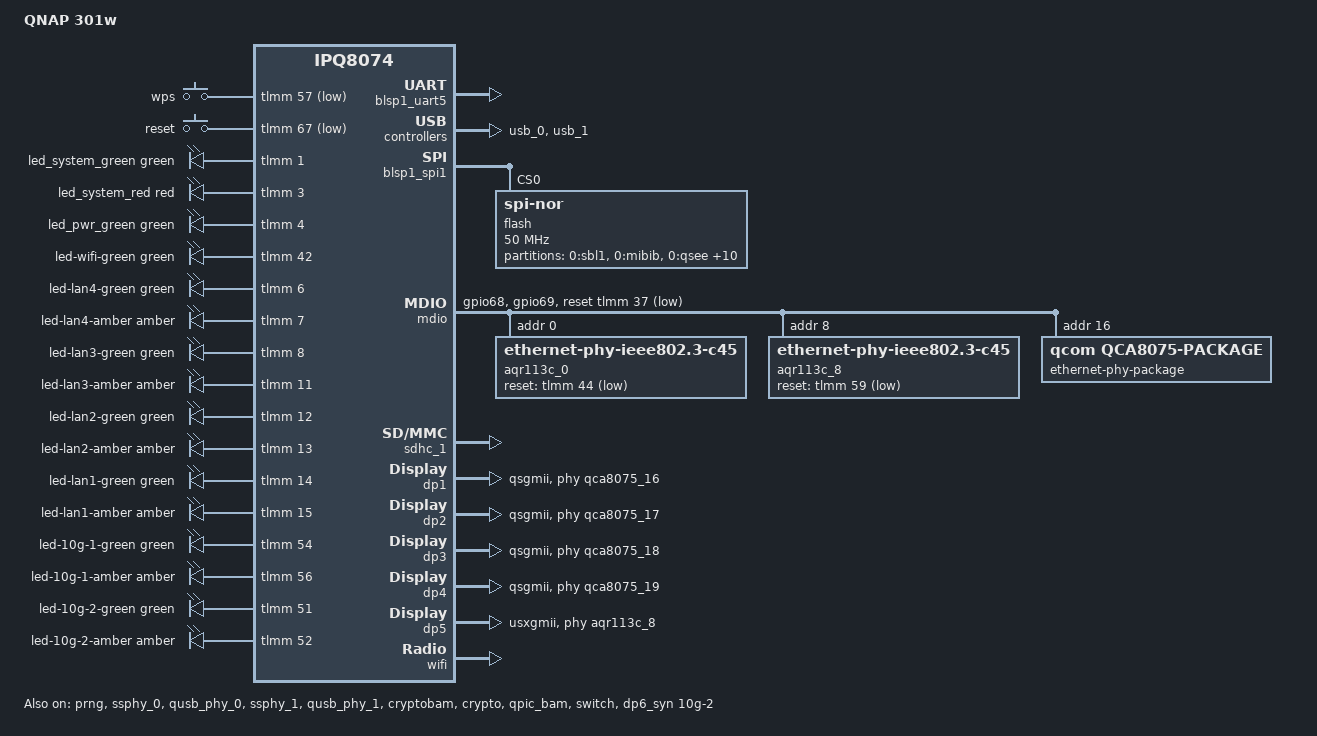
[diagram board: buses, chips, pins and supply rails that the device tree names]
// SPDX-License-Identifier: GPL-2.0-or-later OR MIT
/* Copyright (c) 2021, Dirk Buchwalder <buchwalder@posteo.de> */

/dts-v1/;

#include "ipq8074.dtsi"
#include "ipq8074-hk-cpu.dtsi"
#include "ipq8074-ess.dtsi"
#include "ipq8074-nss.dtsi"
#include <dt-bindings/gpio/gpio.h>
#include <dt-bindings/input/input.h>
#include <dt-bindings/leds/common.h>

/ {
	model = "QNAP 301w";
	compatible = "qnap,301w", "qcom,ipq8074";

	aliases {
		serial0 = &blsp1_uart5;
		/*
		 * Aliases as required by u-boot
		 * to patch MAC addresses
		 */
		led-boot = &led_system_red;
		led-failsafe = &led_system_red;
		led-running = &led_pwr_green;
		led-upgrade = &led_system_red;
		ethernet0 = &dp1;
		ethernet1 = &dp2;
		ethernet2 = &dp3;
		ethernet3 = &dp4;
		ethernet4 = &dp5;
		ethernet5 = &dp6_syn;
		label-mac-device = &dp1;
	};

	chosen {
		stdout-path = "serial0:115200n8";
	};

	keys {
		compatible = "gpio-keys";
		pinctrl-0 = <&button_pins>;
		pinctrl-names = "default";

		wps-button {
			label = "wps";
			gpios = <&tlmm 57 GPIO_ACTIVE_LOW>;
			linux,code = <KEY_WPS_BUTTON>;
		};

		reset-button {
			label = "reset";
			gpios = <&tlmm 67 GPIO_ACTIVE_LOW>;
			linux,code = <KEY_RESTART>;
		};
	};

	leds {
		compatible = "gpio-leds";
		pinctrl-0 = <&leds_pins>;
		pinctrl-names = "default";

		led_system_green: led-system-green {
			gpios = <&tlmm 1 GPIO_ACTIVE_HIGH>;
			color = <LED_COLOR_ID_GREEN>;
			function = LED_FUNCTION_STATUS;
		};

		led_system_red: led-system-red {
			gpios = <&tlmm 3 GPIO_ACTIVE_HIGH>;
			color = <LED_COLOR_ID_RED>;
			function = LED_FUNCTION_STATUS;
		};

		led_pwr_green: led-pwr-green {
			gpios = <&tlmm 4 GPIO_ACTIVE_HIGH>;
			color = <LED_COLOR_ID_GREEN>;
			function = LED_FUNCTION_POWER;
		};

		led-wifi-green {
			gpios = <&tlmm 42 GPIO_ACTIVE_HIGH>;
			color = <LED_COLOR_ID_GREEN>;
			function = LED_FUNCTION_WLAN;
		};

		led-lan4-green {
			gpios = <&tlmm 6 GPIO_ACTIVE_HIGH>;
			color = <LED_COLOR_ID_GREEN>;
			function = LED_FUNCTION_LAN;
			function-enumerator = <4>;
		};

		led-lan4-amber {
			gpios = <&tlmm 7 GPIO_ACTIVE_HIGH>;
			color = <LED_COLOR_ID_AMBER>;
			function = LED_FUNCTION_LAN;
			function-enumerator = <4>;
		};

		led-lan3-green {
			gpios = <&tlmm 8 GPIO_ACTIVE_HIGH>;
			color = <LED_COLOR_ID_GREEN>;
			function = LED_FUNCTION_LAN;
			function-enumerator = <3>;
		};

		led-lan3-amber {
			gpios = <&tlmm 11 GPIO_ACTIVE_HIGH>;
			color = <LED_COLOR_ID_AMBER>;
			function = LED_FUNCTION_LAN;
			function-enumerator = <3>;
		};

		led-lan2-green {
			gpios = <&tlmm 12 GPIO_ACTIVE_HIGH>;
			color = <LED_COLOR_ID_GREEN>;
			function = LED_FUNCTION_LAN;
			function-enumerator = <2>;
		};

		led-lan2-amber {
			gpios = <&tlmm 13 GPIO_ACTIVE_HIGH>;
			color = <LED_COLOR_ID_AMBER>;
			function = LED_FUNCTION_LAN;
			function-enumerator = <2>;
		};

		led-lan1-green {
			gpios = <&tlmm 14 GPIO_ACTIVE_HIGH>;
			color = <LED_COLOR_ID_GREEN>;
			function = LED_FUNCTION_LAN;
			function-enumerator = <1>;
		};

		led-lan1-amber {
			gpios = <&tlmm 15 GPIO_ACTIVE_HIGH>;
			color = <LED_COLOR_ID_AMBER>;
			function = LED_FUNCTION_LAN;
			function-enumerator = <1>;
		};

		led-10g-1-green {
			gpios = <&tlmm 54 GPIO_ACTIVE_HIGH>;
			color = <LED_COLOR_ID_GREEN>;
			function = "10g";
			function-enumerator = <1>;
		};

		led-10g-1-amber {
			gpios = <&tlmm 56 GPIO_ACTIVE_HIGH>;
			color = <LED_COLOR_ID_AMBER>;
			function = "10g";
			function-enumerator = <1>;
		};

		led-10g-2-green {
			gpios = <&tlmm 51 GPIO_ACTIVE_HIGH>;
			color = <LED_COLOR_ID_GREEN>;
			function = "10g";
			function-enumerator = <2>;
		};

		led-10g-2-amber {
			gpios = <&tlmm 52 GPIO_ACTIVE_HIGH>;
			color = <LED_COLOR_ID_AMBER>;
			function = "10g";
			function-enumerator = <2>;
		};
	};
};

&tlmm {

	mdio_pins: mdio-state {
		mdc-pins {
			pins = "gpio68";
			function = "mdc";
			drive-strength = <8>;
			bias-pull-up;
		};

		mdio-pins {
			pins = "gpio69";
			function = "mdio";
			drive-strength = <8>;
			bias-pull-up;
		};
	};

	button_pins: button-state {
		wps-pins {
			pins = "gpio57";
			function = "gpio";
			drive-strength = <8>;
			bias-pull-up;
		};

		rst-pins {
			pins = "gpio67";
			function = "gpio";
			drive-strength = <8>;
			bias-pull-up;
		};
	};

	leds_pins: leds-state {
		pins = "gpio1", "gpio3", "gpio4", "gpio6", "gpio7", "gpio8",
		       "gpio11", "gpio12", "gpio13", "gpio14", "gpio15", "gpio42",
		       "gpio51", "gpio52", "gpio54", "gpio56";
		function = "gpio";
		drive-strength = <8>;
		bias-pull-down;
	};
};

&blsp1_uart5 {
	status = "okay";
};

&prng {
	status = "okay";
};

&ssphy_0 {
	status = "okay";
};

&qusb_phy_0 {
	status = "okay";
};

&ssphy_1 {
	status = "okay";
};

&qusb_phy_1 {
	status = "okay";
};

&usb_0 {
	status = "okay";
};

&usb_1 {
	status = "okay";
};

&cryptobam {
	status = "okay";
};

&crypto {
	status = "okay";
};

&qpic_bam {
	status = "okay";
};

&blsp1_spi1 { /* BLSP1 QUP1 */
	pinctrl-0 = <&spi_0_pins>;
	pinctrl-names = "default";
	cs-gpios = <0>;
	status = "okay";

	flash@0 {
		#address-cells = <1>;
		#size-cells = <1>;
		reg = <0>;
		compatible = "jedec,spi-nor";
		spi-max-frequency = <50000000>;

		partitions {
			compatible = "fixed-partitions";
			#address-cells = <1>;
			#size-cells = <1>;

			partition@0 {
				label = "0:sbl1";
				reg = <0x0 0x50000>;
				read-only;
			};

			partition@50000 {
				label = "0:mibib";
				reg = <0x50000 0x10000>;
				read-only;
			};

			partition@60000 {
				label = "0:qsee";
				reg = <0x60000 0x180000>;
				read-only;
			};

			partition@1e0000 {
				label = "0:devcfg";
				reg = <0x1e0000 0x10000>;
				read-only;
			};

			partition@1f0000 {
				label = "0:apdp";
				reg = <0x1f0000 0x10000>;
				read-only;
			};

			partition@200000 {
				label = "0:rpm";
				reg = <0x200000 0x40000>;
				read-only;
			};

			partition@240000 {
				label = "0:cdt";
				reg = <0x240000 0x10000>;
				read-only;
			};

			partition@250000 {
				label = "0:appsblenv";
				reg = <0x250000 0x20000>;
			};

			partition@270000 {
				label = "0:appsbl";
				reg = <0x250000 0x100000>;
				read-only;
			};

			partition@370000 {
				label = "0:art";
				reg = <0x370000 0x40000>;
				read-only;
			};

			partition@3b0000 {
				label = "0:ethphyfw1";
				reg = <0x3b0000 0x80000>;

				compatible = "nvmem-cells";
				#address-cells = <1>;
				#size-cells = <1>;

				aqr0_fw: firmware@0 {
					reg = <0x0 0x5fc02>;
				};
			};

			partition@430000 {
				label = "0:ethphyfw2";
				reg = <0x430000 0x80000>;

				compatible = "nvmem-cells";
				#address-cells = <1>;
				#size-cells = <1>;

				aqr1_fw: firmware@0 {
					reg = <0x0 0x5fc02>;
				};
			};

			partition@4b0000 {
				label = "reserved";
				reg = <0x4b0000 0x350000>;
			};
		};
	};
};

&mdio {
	status = "okay";

	pinctrl-0 = <&mdio_pins>;
	pinctrl-names = "default";
	reset-gpios = <&tlmm 37 GPIO_ACTIVE_LOW>;

	aqr113c_0: ethernet-phy@0 {
		compatible ="ethernet-phy-ieee802.3-c45";
		reg = <0>;
		reset-gpios = <&tlmm 44 GPIO_ACTIVE_LOW>;
		firmware-name = "marvell/AQR-G4_v5.4.C-AQR_CIG_WF-1945_0x0_ID44778_VER1630.cld";
		nvmem-cell-names = "firmware";
		nvmem-cells = <&aqr0_fw>;
	};

	aqr113c_8: ethernet-phy@8 {
		compatible ="ethernet-phy-ieee802.3-c45";
		reg = <8>;
		reset-gpios = <&tlmm 59 GPIO_ACTIVE_LOW>;
		firmware-name = "marvell/AQR-G4_v5.4.C-AQR_CIG_WF-1945_0x8_ID44776_VER1630.cld";
		nvmem-cell-names = "firmware";
		nvmem-cells = <&aqr1_fw>;
	};

	ethernet-phy-package@16 {
		#address-cells = <1>;
		#size-cells = <0>;
		compatible = "qcom,qca8075-package";
		reg = <16>;

		qcom,package-mode = "qsgmii";

		qca8075_16: ethernet-phy@16 {
			compatible = "ethernet-phy-ieee802.3-c22";
			reg = <16>;
		};

		qca8075_17: ethernet-phy@17 {
			compatible = "ethernet-phy-ieee802.3-c22";
			reg = <17>;
		};

		qca8075_18: ethernet-phy@18 {
			compatible = "ethernet-phy-ieee802.3-c22";
			reg = <18>;
		};

		qca8075_19: ethernet-phy@19 {
			compatible = "ethernet-phy-ieee802.3-c22";
			reg = <19>;
		};
	};
};

&sdhc_1 {
	status = "okay";

	/* According to the stock dts from the QNAP gpl drop
	 * the emmc has a problem with the hs400 > hs200 speed switch.
	 * Therefore remove the mmc-hs400-1_8v property
	*/
	/delete-property/ mmc-hs400-1_8v;
	mmc-hs200-1_8v;
	mmc-ddr-1_8v;
	vqmmc-supply = <&l11>;
};

&switch {
	status = "okay";

	switch_lan_bmp = <(ESS_PORT1 | ESS_PORT2 | ESS_PORT3 | ESS_PORT4 | ESS_PORT6)>; /* lan port bitmap */
	switch_wan_bmp = <ESS_PORT5>; /* wan port bitmap */
	switch_mac_mode = <MAC_MODE_QSGMII>; /* mac mode for uniphy instance0*/
	switch_mac_mode1 = <MAC_MODE_USXGMII>; /* mac mode for uniphy instance1*/
	switch_mac_mode2 = <MAC_MODE_USXGMII>; /* mac mode for uniphy instance2*/

	qcom,port_phyinfo {
		port@0 {
			port_id = <1>;
			phy_address = <16>;
		};
		port@1 {
			port_id = <2>;
			phy_address = <17>;
		};
		port@2 {
			port_id = <3>;
			phy_address = <18>;
		};
		port@3 {
			port_id = <4>;
			phy_address = <19>;
		};
		port@4 {
			port_id = <5>;
			phy_address = <8>;
			compatible = "ethernet-phy-ieee802.3-c45";
			ethernet-phy-ieee802.3-c45;
		};
		port@5 {
			port_id = <6>;
			phy_address = <0>;
			compatible = "ethernet-phy-ieee802.3-c45";
			ethernet-phy-ieee802.3-c45;
		};
	};
};

&edma {
	status = "okay";
};

&dp1 {
	status = "okay";
	phy-mode = "qsgmii";
	phy-handle = <&qca8075_16>;
	label = "lan4";
};

&dp2 {
	status = "okay";
	phy-mode = "qsgmii";
	phy-handle = <&qca8075_17>;
	label = "lan3";
};

&dp3 {
	status = "okay";
	phy-mode = "qsgmii";
	phy-handle = <&qca8075_18>;
	label = "lan2";
};

&dp4 {
	status = "okay";
	phy-mode = "qsgmii";
	phy-handle = <&qca8075_19>;
	label = "lan1";
};

&dp5 {
	status = "okay";
	qcom,mactype = <1>;
	phy-mode = "usxgmii";
	phy-handle = <&aqr113c_8>;
	label = "10g-1";
};

&dp6_syn {
	status = "okay";
	phy-mode = "usxgmii";
	phy-handle = <&aqr113c_0>;
	label = "10g-2";
};

&wifi {
	status = "okay";

	qcom,ath11k-calibration-variant = "QNAP-301w";
};
